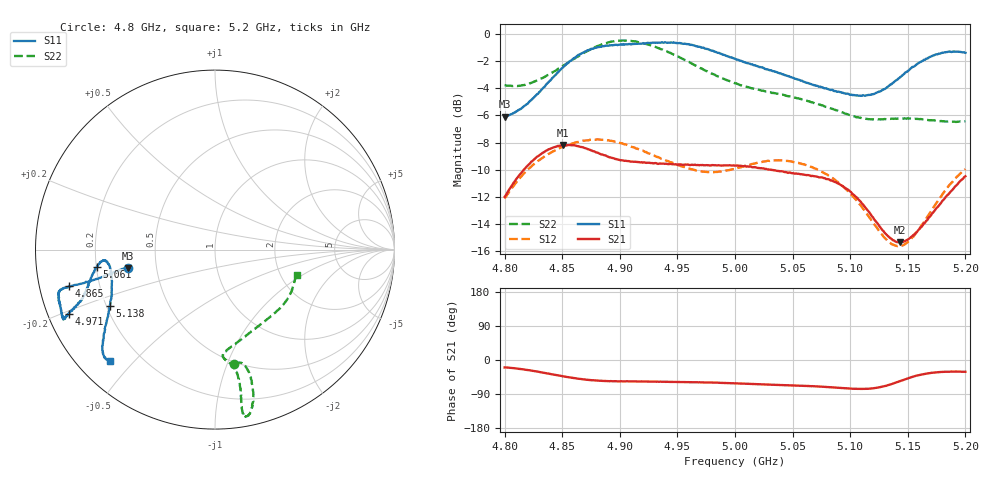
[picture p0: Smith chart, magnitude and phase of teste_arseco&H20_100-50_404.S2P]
! Network Analyzer HP8722D
! Hewlett-Packard
! Data name: Linha & Wilkinson
! Saver's name: Rodrigo Anjos
! Comments: Teste da utilização de aquisição
! continua pelo VNA HP8722D
! Time and date: 6/5/2025 15:56
!  Frequency  S11  S21  S12  S22
# HZ  S  MA R 50
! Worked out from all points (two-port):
!   401 points, 4.8 GHz to 5.2 GHz, reference 50 ohm
!   highest |S21| = -8.16 dB at 4.851 GHz (marker M1); lowest = -15.3 dB at 5.143 GHz (marker M2)
!   |S21| within 3 dB of the highest: 4.806 GHz to 5.093 GHz (286.7 MHz wide, 5.79 % of centre); 5.191971 GHz to end of sweep
!   lowest |S11| = -6.1 dB at 4.8 GHz (marker M3), VSWR 2.97, Z = 17 - j4.62 ohm
!   |S11| at or under -10 dB: nowhere
!   |S22| runs from -6.5 to -0.5 dB; largest |S21 - S12| = 0.62
!   S11 on the Smith chart (normalised r, x): 4.8 GHz: 0.34, -0.09; 4.865 GHz: 0.09, -0.12; 4.971 GHz: 0.06, -0.21; 5.061 GHz: 0.20, -0.07; 5.138 GHz: 0.21, -0.24; 5.2 GHz: 0.09, -0.43
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4.8e9  0.4963 -168.1  0.2514 -19.6  0.2482 -140.7  0.6477 -80.4
4.823e9  0.5702 -167.4  0.3382 -27.8  0.3244 -143.5  0.6599 -75.9
4.851e9  0.7548 -165.7  0.3907 -43.2  0.3846 -149.1  0.7636 -74.5
4.865e9  0.839 -166.0  0.3849 -49.7  0.4015 -151.5  0.8329 -75.1
4.867e9  0.8482 -165.6  0.3834 -50.5  0.4036 -151.8  0.8427 -75.4
4.88e9  0.8914 -165.4  0.3664 -54.4  0.4091 -153.9  0.8987 -76.6
4.899e9  0.9118 -162.8  0.3444 -56.4  0.3984 -156.5  0.9438 -78.9
4.934e9  0.9292 -156.3  0.3328 -57.5  0.3511 -155.5  0.8841 -80.4
4.971e9  0.8899 -156.3  0.3291 -59.1  0.3118 -146.4  0.7463 -79.7
5e9  0.8099 -158.8  0.3276 -61.7  0.3199 -137.0  0.6582 -81.2
5.037e9  0.7206 -165.8  0.3132 -65.8  0.3424 -134.2  0.6016 -85.6
5.061e9  0.6641 -171.8  0.3029 -68.2  0.3299 -136.1  0.5702 -83.9
5.067e9  0.6512 -172.9  0.3007 -69.0  0.3235 -136.6  0.5602 -82.6
5.087e9  0.6161 -174.3  0.2849 -72.9  0.29 -138.3  0.5252 -74.9
5.103e9  0.596 -171.3  0.2559 -76.0  0.2509 -138.5  0.498 -65.2
5.118e9  0.5976 -164.4  0.2162 -75.3  0.2076 -134.6  0.4852 -54.4
5.134e9  0.646 -154.1  0.1785 -65.4  0.1712 -120.9  0.4871 -43.4
5.138e9  0.6648 -151.7  0.1738 -61.3  0.1673 -115.8  0.4868 -40.9
5.143e9  0.6905 -149.1  0.1714 -56.2  0.1658 -109.2  0.4885 -38.0
5.154e9  0.7559 -144.4  0.1807 -44.6  0.1787 -95.2  0.4884 -32.3
5.173e9  0.8344 -138.7  0.2232 -33.2  0.2322 -80.7  0.4807 -24.3
5.2e9  0.8521 -133.4  0.2995 -31.1  0.3185 -76.7  0.4772 -17.6
